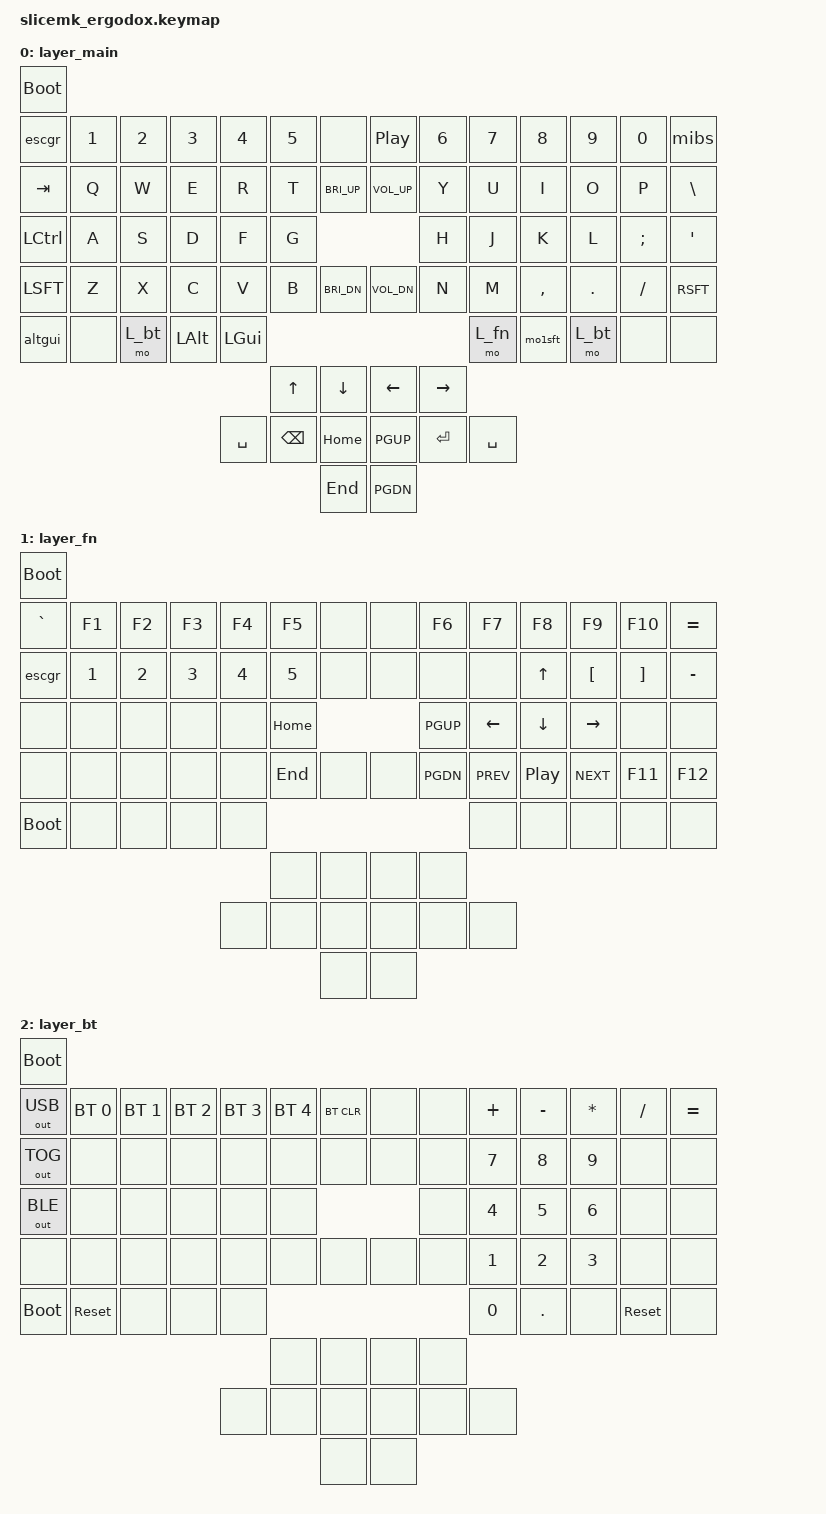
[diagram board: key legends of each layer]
#include <behaviors.dtsi>
#include <dt-bindings/zmk/bt.h>
#include <dt-bindings/zmk/keys.h>
#include <dt-bindings/zmk/mouse.h>
#include <dt-bindings/zmk/outputs.h>

// Some shortcuts
#define L_main 0
#define L_fn   1
#define L_bt   2
#define BRI_UP C_BRI_UP
#define BRI_DN C_BRI_DN
#define VOL_UP C_VOL_UP
#define VOL_DN C_VOL_DN
#define O_TOG  OUT_TOG
#define O_USB  OUT_USB
#define O_BLE  OUT_BLE
#define BT_S   BT_SEL

/ {
    keymap {
        compatible = "zmk,keymap";
        layer_main {
            bindings = <
    &bootloader
    &escgr      &kp NUM_1  &kp NUM_2  &kp NUM_3  &kp NUM_4  &kp NUM_5  &none      &kp C_PP   &kp NUM_6  &kp NUM_7  &kp NUM_8  &kp NUM_9  &kp NUM_0  &mibs
    &kp TAB     &kp Q      &kp W      &kp E      &kp R      &kp T      &kp BRI_UP &kp VOL_UP &kp Y      &kp U      &kp I      &kp O      &kp P      &kp BSLH
    &kp LCTL    &kp A      &kp S      &kp D      &kp F      &kp G                            &kp H      &kp J      &kp K      &kp L      &kp SCLN   &kp SQT
    &kp LSFT    &kp Z      &kp X      &kp C      &kp V      &kp B      &kp BRI_DN &kp VOL_DN &kp N      &kp M      &kp CMMA   &kp DOT    &kp FSLH   &kp RSFT
    &altgui     &none      &mo L_bt   &kp LALT   &kp LGUI                                               &mo L_fn   &mo1sft    &mo L_bt   &none      &none
                                                            &kp UP     &kp DOWN   &kp LEFT   &kp RIGHT
                                                 &kp SPC    &kp BKSP   &kp HOME   &kp PGUP   &kp RET    &kp SPC
                                                                       &kp END    &kp PGDN
            >;
        };

        layer_fn {
            bindings = <
    &bootloader
    &kp GRAVE   &kp F1     &kp F2     &kp F3     &kp F4     &kp F5     &none      &none      &kp F6     &kp F7     &kp F8     &kp F9     &kp F10    &kp EQL
    &escgr      &kp NUM_1  &kp NUM_2  &kp NUM_3  &kp NUM_4  &kp NUM_5  &none      &none      &none      &none      &kp UP     &kp LBKT   &kp RBKT   &kp MINUS
    &none       &none      &none      &none      &none      &kp HOME                         &kp PGUP   &kp LEFT   &kp DOWN   &kp RIGHT  &none      &none
    &none       &none      &none      &none      &none      &kp END    &none      &none      &kp PGDN   &kp C_PREV &kp C_PP   &kp C_NEXT &kp F11    &kp F12
    &bootloader &none      &none      &none      &none                                                  &none      &none      &none      &none      &none
                                                            &none      &none      &none      &none
                                                 &none      &none      &none      &none      &none      &none
                                                                       &none      &none
            >;
        };

        layer_bt {
            bindings = <
    &bootloader
    &out O_USB  &bt BT_S 0 &bt BT_S 1 &bt BT_S 2 &bt BT_S 3 &bt BT_S 4 &bt BT_CLR &none      &none      &kp PLUS   &kp MINUS  &kp STAR   &kp SLASH  &kp EQL
    &out O_TOG  &none      &none      &none      &none      &none      &none      &none      &none      &kp NUM_7  &kp NUM_8  &kp NUM_9  &none      &none
    &out O_BLE  &none      &none      &none      &none      &none                            &none      &kp NUM_4  &kp NUM_5  &kp NUM_6  &none      &none
    &none       &none      &none      &none      &none      &none      &none      &none      &none      &kp NUM_1  &kp NUM_2  &kp NUM_3  &none      &none
    &bootloader &sys_reset &none      &none      &none                                                  &kp NUM_0  &kp DOT    &none      &sys_reset &none
                                                            &none      &none      &none      &none
                                                 &none      &none      &none      &none      &none      &none
                                                                       &none      &none
            >;
        };
    };

    ZMK_MACRO(altgui,
        wait-ms = <0>;
        tap-ms = <0>;
        bindings
            = <&macro_press &kp LALT>
            , <&macro_press &kp LGUI>
            , <&macro_pause_for_release>
            , <&macro_release &kp LALT>
            , <&macro_release &kp LGUI>
            ;
    )

    ZMK_MACRO(mo1sft,
        wait-ms = <0>;
        tap-ms = <0>;
        bindings
            = <&macro_press &mo 1>
            , <&macro_press &kp RSFT>
            , <&macro_pause_for_release>
            , <&macro_release &kp RSFT>
            , <&macro_release &mo 1>
            ;
    )
};

/ {
    behaviors {
        escgr: escape_grave {
            compatible = "zmk,behavior-mod-morph";
            label = "DM4_ESCAPE_GRAVE";
            #binding-cells = <0>;
            bindings = <&kp ESC>, <&kp GRAVE>;
            mods = <(MOD_LSFT|MOD_RSFT)>;
            keep-mods = <(MOD_RSFT)>;
        };

        // dm4: for macOS style Cmd-Delete
        mibs: minus_backspace {
            compatible = "zmk,behavior-mod-morph";
            label = "DM4_MINUS_BACKSPACE";
            #binding-cells = <0>;
            bindings = <&kp MINUS>, <&kp BKSP>;
            mods = <(MOD_LGUI)>;
            keep-mods = <(MOD_LGUI)>;
        };
    };
};
